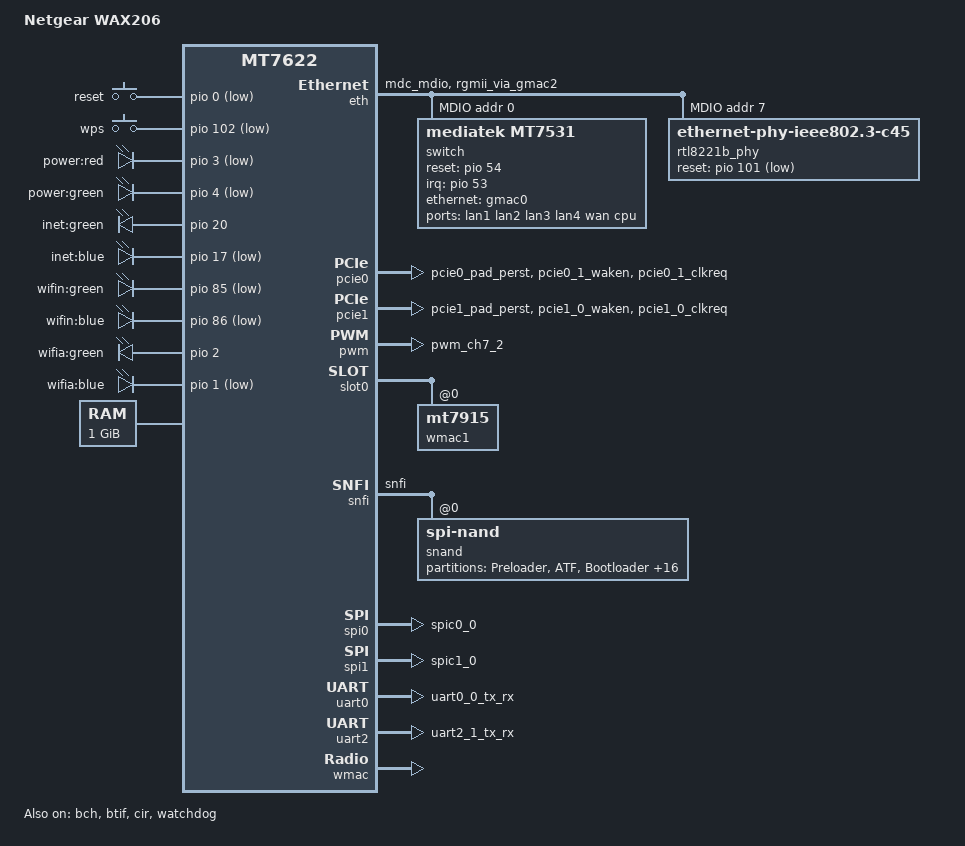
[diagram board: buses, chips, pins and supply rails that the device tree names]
// SPDX-License-Identifier: GPL-2.0-or-later OR MIT
/* Copyright (c) 2022, Marcel Ziswiler <marcel@ziswiler.com> */

/dts-v1/;
#include "mt7622.dtsi"
#include "mt6380.dtsi"
#include <dt-bindings/gpio/gpio.h>
#include <dt-bindings/input/input.h>

/ {
	model = "Netgear WAX206";
	compatible = "netgear,wax206", "mediatek,mt7622";

	aliases {
		ethernet0 = &gmac0;
		led-boot = &led_power_r;
		led-failsafe = &led_power_r;
		led-running = &led_power_g;
		led-upgrade = &led_power_g;
		serial0 = &uart0;
	};

	chosen {
		stdout-path = "serial0:115200n8";
		bootargs = "earlycon=uart8250,mmio32,0x11002000 console=ttyS0,115200n8 swiotlb=512";
	};

	cpus {
		cpu@0 {
			proc-supply = <&mt6380_vcpu_reg>;
			sram-supply = <&mt6380_vm_reg>;
		};

		cpu@1 {
			proc-supply = <&mt6380_vcpu_reg>;
			sram-supply = <&mt6380_vm_reg>;
		};
	};

	gpio-keys {
		compatible = "gpio-keys";

		reset {
			gpios = <&pio 0 GPIO_ACTIVE_LOW>;
			label = "reset";
			linux,code = <KEY_RESTART>;
		};

		wps {
			gpios = <&pio 102 GPIO_ACTIVE_LOW>;
			label = "wps";
			linux,code = <KEY_WPS_BUTTON>;
		};
	};

	gpio-leds {
		compatible = "gpio-leds";

		led_power_r: power_red {
			default-state = "on";
			gpios = <&pio 3 GPIO_ACTIVE_LOW>;
			label = "power:red";
		};

		led_power_g: power_green {
			default-state = "off";
			gpios = <&pio 4 GPIO_ACTIVE_LOW>;
			label = "power:green";
		};

		inet_green {
			default-state = "off";
			gpios = <&pio 20 GPIO_ACTIVE_HIGH>;
			label = "inet:green";
		};

		inet_blue {
			default-state = "off";
			gpios = <&pio 17 GPIO_ACTIVE_LOW>;
			label = "inet:blue";
		};

		wifin_green {
			default-state = "off";
			gpios = <&pio 85 GPIO_ACTIVE_LOW>;
			label = "wifin:green";
		};

		wifin_blue {
			default-state = "off";
			gpios = <&pio 86 GPIO_ACTIVE_LOW>;
			label = "wifin:blue";
		};

		wifia_green {
			default-state = "off";
			gpios = <&pio 2 GPIO_ACTIVE_HIGH>;
			label = "wifia:green";
		};

		wifia_blue {
			default-state = "off";
			gpios = <&pio 1 GPIO_ACTIVE_LOW>;
			label = "wifia:blue";
		};
	};

	memory {
		reg = <0 0x40000000 0 0x40000000>;
	};
};

&bch {
	status = "okay";
};

&btif {
	status = "okay";
};

&cir {
	pinctrl-names = "default";
	pinctrl-0 = <&irrx_pins>;
	status = "okay";
};

&eth {
	pinctrl-names = "default";
	pinctrl-0 = <&eth_pins>;
	status = "okay";

	gmac0: mac@0 {
		compatible = "mediatek,eth-mac";
		nvmem-cells = <&macaddr_factory_7fff4>;
		nvmem-cell-names = "mac-address";
		phy-mode = "2500base-x";
		reg = <0>;

		fixed-link {
			full-duplex;
			pause;
			speed = <2500>;
		};
	};

	mdio-bus {
		#address-cells = <1>;
		#size-cells = <0>;

		switch@0 {
			compatible = "mediatek,mt7531";
			#interrupt-cells = <1>;
			interrupt-controller;
			interrupt-parent = <&pio>;
			interrupts = <53 IRQ_TYPE_LEVEL_HIGH>;
			reg = <0>;
			reset-gpios = <&pio 54 GPIO_ACTIVE_HIGH>;

			ports {
				#address-cells = <1>;
				#size-cells = <0>;

				port@1 {
					label = "lan1";
					reg = <1>;
				};

				port@2 {
					label = "lan2";
					reg = <2>;
				};

				port@3 {
					label = "lan3";
					reg = <3>;
				};

				port@4 {
					label = "lan4";
					reg = <4>;
				};

				wan: port@5 {
					label = "wan";
					nvmem-cells = <&macaddr_factory_7fffa>;
					nvmem-cell-names = "mac-address";
					phy-handle = <&rtl8221b_phy>;
					phy-mode = "2500base-x";
					reg = <5>;
				};

				port@6 {
					ethernet = <&gmac0>;
					label = "cpu";
					phy-mode = "2500base-x";
					reg = <6>;

					fixed-link {
						full-duplex;
						pause;
						speed = <2500>;
					};
				};
			};
		};

		rtl8221b_phy: ethernet-phy@7 {
			compatible = "ethernet-phy-ieee802.3-c45";
			reg = <7>;
			reset-gpios = <&pio 101 GPIO_ACTIVE_LOW>;
			interrupts = <52 IRQ_TYPE_LEVEL_HIGH>;
			reset-assert-us = <100000>;
			reset-deassert-us = <100000>;
		};
	};
};

&pcie0 {
	pinctrl-names = "default";
	pinctrl-0 = <&pcie0_pins>;
	status = "okay";
};

&pcie1 {
	pinctrl-names = "default";
	pinctrl-0 = <&pcie1_pins>;
	status = "okay";
};

&pio {
	eth_pins: eth-pins {
		mux {
			function = "eth";
			groups = "mdc_mdio", "rgmii_via_gmac2";
		};
	};

	irrx_pins: irrx-pins {
		mux {
			function = "ir";
			groups =  "ir_1_rx";
		};
	};

	irtx_pins: irtx-pins {
		mux {
			function = "ir";
			groups =  "ir_1_tx";
		};
	};

	pcie0_pins: pcie0-pins {
		mux {
			function = "pcie";
			groups = "pcie0_pad_perst",
				 "pcie0_1_waken",
				 "pcie0_1_clkreq";
		};
	};

	pcie1_pins: pcie1-pins {
		mux {
			function = "pcie";
			groups = "pcie1_pad_perst",
				 "pcie1_0_waken",
				 "pcie1_0_clkreq";
		};
	};

	pmic_bus_pins: pmic-bus-pins {
		mux {
			function = "pmic";
			groups = "pmic_bus";
		};
	};

	pwm7_pins: pwm1-2-pins {
		mux {
			function = "pwm";
			groups = "pwm_ch7_2";
		};
	};

	wled_pins: wled-pins {
		mux {
			function = "led";
			groups = "wled";
		};
	};

	/* Serial NAND is shared pin with SPI-NOR */
	serial_nand_pins: serial-nand-pins {
		mux {
			function = "flash";
			groups = "snfi";
		};
	};

	spic0_pins: spic0-pins {
		mux {
			function = "spi";
			groups = "spic0_0";
		};
	};

	spic1_pins: spic1-pins {
		mux {
			function = "spi";
			groups = "spic1_0";
		};
	};

	uart0_pins: uart0-pins {
		mux {
			function = "uart";
			groups = "uart0_0_tx_rx";
		};
	};

	uart2_pins: uart2-pins {
		mux {
			function = "uart";
			groups = "uart2_1_tx_rx";
		};
	};

	watchdog_pins: watchdog-pins {
		mux {
			function = "watchdog";
			groups = "watchdog";
		};
	};
};

&pwm {
	pinctrl-names = "default";
	pinctrl-0 = <&pwm7_pins>;
	status = "okay";
};

&pwrap {
	pinctrl-names = "default";
	pinctrl-0 = <&pmic_bus_pins>;
	status = "okay";
};

&rtc {
	status = "disabled";
};

&sata {
	status = "disabled";
};

&sata_phy {
	status = "disabled";
};

&slot0 {
	wmac1: mt7915@0,0 {
		reg = <0x0000 0 0 0 0>;
		ieee80211-freq-limit = <5000000 6000000>;
	};
};

&snfi {
	pinctrl-names = "default";
	pinctrl-0 = <&serial_nand_pins>;
	status = "okay";

	snand: flash@0 {
		compatible = "spi-nand";
		mediatek,bmt-table-size = <0x1000>;
		mediatek,bmt-v2;
		nand-ecc-engine = <&snfi>;
		reg = <0>;
		spi-rx-bus-width = <4>;
		spi-tx-bus-width = <4>;

		partitions {
			compatible = "fixed-partitions";
			#address-cells = <1>;
			#size-cells = <1>;

			partition@0 {
				label = "Preloader";
				reg = <0x00000 0x0080000>;
				read-only;
			};

			partition@80000 {
				label = "ATF";
				reg = <0x80000 0x0040000>;
				read-only;
			};

			partition@c0000 {
				label = "Bootloader";
				reg = <0xc0000 0x0080000>;
				read-only;
			};

			partition@140000 {
				label = "Config";
				reg = <0x140000 0x0080000>;
			};

			factory: partition@1c0000 {
				compatible = "nvmem-cells";
				label = "Factory";
				reg = <0x1c0000 0x0100000>;
				#address-cells = <1>;
				#size-cells = <1>;
				read-only;

				macaddr_factory_7fff4: macaddr@7fff4 {
					reg = <0x7fff4 0x6>;
				};

				macaddr_factory_7fffa: macaddr@7fffa {
					reg = <0x7fffa 0x6>;
				};
			};

			partition@2c0000 {
				label = "firmware";
				reg = <0x2c0000 0x2600000>;

				compatible = "fixed-partitions";
				#address-cells = <1>;
				#size-cells = <1>;

				partition@0 {
					label = "kernel";
					reg = <0x0 0x600000>;
				};

				partition@600000 {
					label = "ubi";
					reg = <0x600000 0x2000000>;
				};
			};

			partition@28c0000 {
				label = "firmware_backup";
				reg = <0x28c0000 0x2600000>;
				read-only;
			};

			partition@4ec0000 {
				label = "CFG";
				reg = <0x4ec0000 0x800000>;
				read-only;
			};

			partition@56c0000 {
				label = "RAE";
				reg = <0x56c0000 0x400000>;
				read-only;
			};

			partition@5ac0000 {
				label = "POT";
				reg = <0x5ac0000 0x100000>;
				read-only;
			};

			partition@5bc0000 {
				label = "Language";
				reg = <0x5bc0000 0x400000>;
				read-only;
			};

			partition@5fc0000 {
				label = "Traffic";
				reg = <0x5fc0000 0x200000>;
				read-only;
			};

			partition@61c0000 {
				label = "Cert";
				reg = <0x61c0000 0x100000>;
				read-only;
			};

			partition@62c0000 {
				label = "NTGRcryptK";
				reg = <0x62c0000 0x100000>;
				read-only;
			};

			partition@63c0000 {
				label = "NTGRcryptD";
				reg = <0x63c0000 0x500000>;
				read-only;
			};

			partition@68c0000 {
				label = "LOG";
				reg = <0x68c0000 0x100000>;
				read-only;
			};

			partition@69c0000 {
				label = "User_data";
				reg = <0x69c0000 0x640000>;
				read-only;
			};

		};
	};
};

&spi0 {
	pinctrl-names = "default";
	pinctrl-0 = <&spic0_pins>;
	status = "okay";
};

&spi1 {
	pinctrl-names = "default";
	pinctrl-0 = <&spic1_pins>;
	status = "okay";
};

&ssusb {
	status = "disabled";
};

&u3phy {
	status = "disabled";
};

&uart0 {
	pinctrl-names = "default";
	pinctrl-0 = <&uart0_pins>;
	status = "okay";
};

&uart2 {
	pinctrl-names = "default";
	pinctrl-0 = <&uart2_pins>;
	status = "okay";
};

&watchdog {
	pinctrl-names = "default";
	pinctrl-0 = <&watchdog_pins>;
	status = "okay";
};

&wmac {
	mediatek,mtd-eeprom = <&factory 0x0000>;
	status = "okay";
};

&wmac1 {
	mediatek,mtd-eeprom = <&factory 0x05000>;
};
